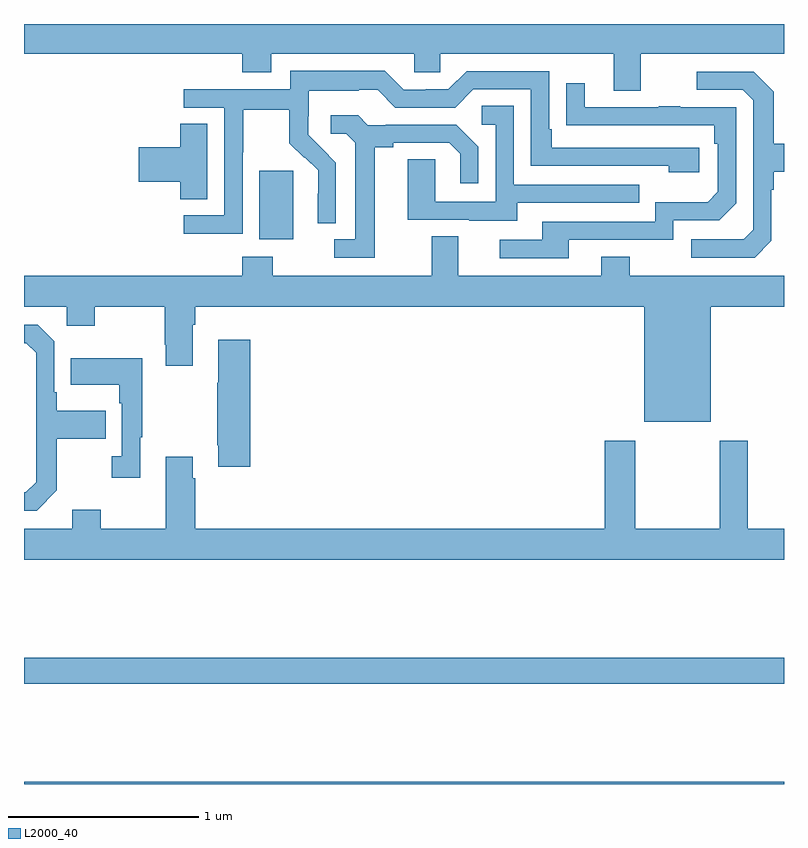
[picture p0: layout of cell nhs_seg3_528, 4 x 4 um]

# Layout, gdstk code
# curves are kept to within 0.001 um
import gdstk
lib = gdstk.Library(unit=1e-6, precision=1e-09)
def R(c, l, rs):  # rectangles x0, y0, x1, y1
    for r in rs: c.add(gdstk.rectangle(r[:2], r[2:], *l))
def P(c, l, *ps):  # polygons
    for p in ps: c.add(gdstk.Polygon(p, *l))
L2000_40 = (2000, 40)

nhs_seg3_528 = lib.new_cell('nhs_seg3_528')
R(nhs_seg3_528, L2000_40, [(137,702.4,141,702.412), (137,702.928,141,703.064), (138.239,705.266,138.418,705.627)])
P(nhs_seg3_528, L2000_40, [(140.245,706.244),(141,706.244),(141,706.4),(137,706.4),(137,706.244),(138.149,706.244),(138.149,706.145),(138.301,706.145),(138.301,706.244),(139.053,706.244),(139.053,706.146),(139.191,706.146),(139.191,706.244),(140.105,706.244),(140.105,706.05),(140.245,706.05)],
  [(138.15,705.724),(138.153,705.724),(138.153,705.948),(138.397,705.948),(138.397,705.773),(138.474,705.696),(138.477,705.699),(138.548,705.629),(138.548,705.506),(138.546,705.506),(138.546,705.352),(138.642,705.352),(138.642,705.67),(138.496,705.818),(138.496,705.915),(138.498,705.915),(138.498,706.049),(138.761,706.049),(138.761,706.053),(138.861,706.053),(138.954,705.96),(139.269,705.96),(139.365,706.056),(139.668,706.056),(139.668,705.654),(140.393,705.654),(140.393,705.62),(140.554,705.62),(140.554,705.75),(139.777,705.75),(139.777,705.847),(139.764,705.847),(139.764,706.152),(139.329,706.152),(139.233,706.056),(139.115,706.056),(139.115,706.053),(138.999,706.053),(138.899,706.153),(138.402,706.153),(138.402,706.056),(137.841,706.056),(137.841,705.96),(138.054,705.96),(138.054,705.393),(137.841,705.393),(137.841,705.295),(138.15,705.295)],
  [(140.934,705.258),(140.934,705.527),(140.947,705.527),(140.947,705.623),(141,705.623),(141,705.771),(140.947,705.771),(140.947,706.043),(140.841,706.149),(140.541,706.149),(140.541,706.053),(140.784,706.053),(140.838,705.999),(140.838,705.318),(140.787,705.267),(140.511,705.267),(140.511,705.171),(140.847,705.171)],
  [(139.867,705.264),(140.418,705.264),(140.418,705.366),(140.658,705.366),(140.748,705.456),(140.748,705.963),(140.453,705.963),(140.453,705.968),(140.341,705.968),(140.341,705.963),(139.951,705.963),(139.951,706.087),(139.855,706.087),(139.855,705.868),(140.632,705.867),(140.632,705.77),(140.652,705.77),(140.652,705.516),(140.599,705.463),(140.322,705.463),(140.322,705.36),(139.727,705.36),(139.727,705.264),(139.503,705.264),(139.503,705.168),(139.867,705.168)],
  [(139.597,705.459),(140.237,705.459),(140.237,705.555),(139.578,705.555),(139.578,705.971),(139.41,705.971),(139.41,705.87),(139.482,705.87),(139.482,705.465),(139.164,705.465),(139.164,705.689),(139.019,705.689),(139.019,705.369),(139.343,705.369),(139.343,705.365),(139.597,705.365)],
  [(138.847,705.752),(138.943,705.752),(138.943,705.774),(139.238,705.774),(139.295,705.717),(139.295,705.561),(139.392,705.561),(139.392,705.754),(139.276,705.87),(138.904,705.87),(138.904,705.867),(138.81,705.867),(138.758,705.919),(138.615,705.919),(138.615,705.822),(138.696,705.822),(138.743,705.775),(138.743,705.267),(138.633,705.267),(138.633,705.171),(138.847,705.171)],
  [(137.965,705.875),(137.822,705.875),(137.822,705.752),(137.604,705.752),(137.604,705.569),(137.822,705.569),(137.822,705.478),(137.965,705.478)],
  [(140.614,704.912),(141,704.912),(141,705.076),(140.187,705.076),(140.187,705.175),(140.039,705.175),(140.039,705.076),(139.285,705.076),(139.285,705.284),(139.145,705.284),(139.145,705.076),(138.309,705.076),(138.309,705.175),(138.149,705.175),(138.149,705.076),(137,705.076),(137,704.912),(137.226,704.912),(137.226,704.813),(137.373,704.813),(137.373,704.912),(137.74,704.912),(137.74,704.713),(137.747,704.713),(137.747,704.601),(137.887,704.601),(137.887,704.816),(137.9,704.816),(137.9,704.912),(140.264,704.912),(140.264,704.306),(140.614,704.306)],
  [(137.173,703.945),(137.173,704.218),(137.429,704.218),(137.429,704.365),(137.173,704.365),(137.173,704.461),(137.16,704.461),(137.16,704.73),(137.073,704.817),(137,704.817),(137,704.721),(137.013,704.721),(137.064,704.67),(137.064,703.989),(137.01,703.935),(137,703.935),(137,703.839),(137.067,703.839)],
  [(138.191,704.737),(138.023,704.737),(138.023,704.513),(138.016,704.513),(138.016,704.182),(138.023,704.182),(138.023,704.07),(138.191,704.07)],
  [(137.611,704.225),(137.623,704.225),(137.623,704.641),(137.245,704.641),(137.245,704.501),(137.502,704.501),(137.502,704.405),(137.514,704.405),(137.514,704.126),(137.463,704.126),(137.463,704.013),(137.611,704.013)],
  [(141,703.744),(140.809,703.744),(140.809,704.206),(140.662,704.206),(140.662,703.744),(140.217,703.744),(140.217,704.206),(140.057,704.206),(140.057,703.744),(137.9,703.744),(137.9,704.009),(137.887,704.009),(137.887,704.122),(137.747,704.122),(137.747,703.744),(137.403,703.744),(137.403,703.843),(137.255,703.843),(137.255,703.744),(137,703.744),(137,703.58),(141,703.58)])

lib.write_gds('nhs_seg3_528.gds')
